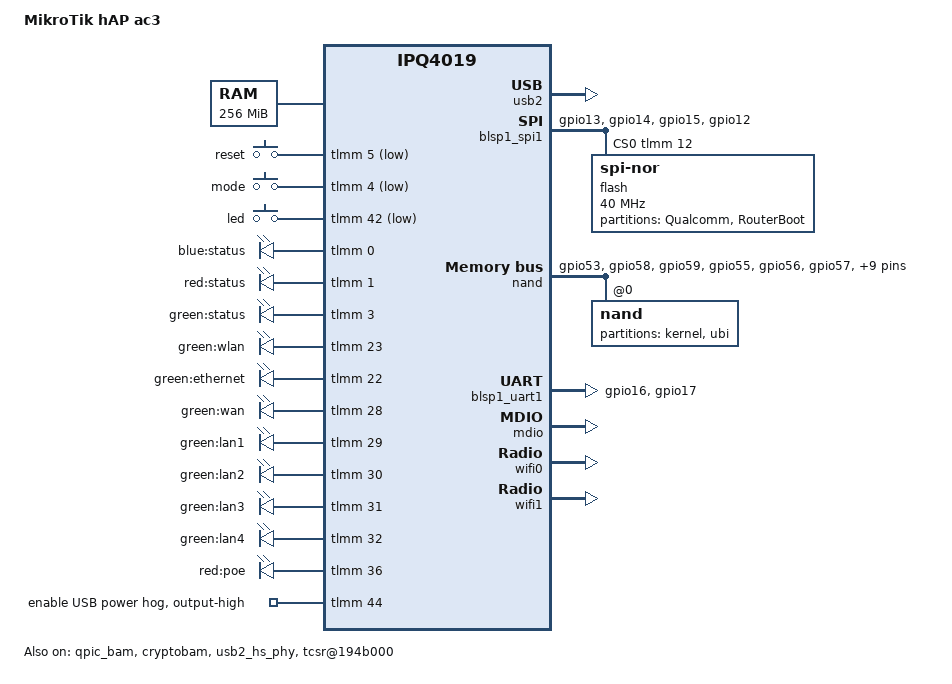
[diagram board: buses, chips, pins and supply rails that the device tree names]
// SPDX-License-Identifier: GPL-2.0-or-later OR MIT
/* Copyright (c) 2021, Robert Marko <robimarko@gmail.com> */

#include "qcom-ipq4019.dtsi"
#include <dt-bindings/gpio/gpio.h>
#include <dt-bindings/input/input.h>
#include <dt-bindings/soc/qcom,tcsr.h>

/ {
	model = "MikroTik hAP ac3";
	compatible = "mikrotik,hap-ac3";

	memory {
		device_type = "memory";
		reg = <0x80000000 0x10000000>;
	};

	chosen {
		stdout-path = "serial0:115200n8";
	};

	aliases {
		led-boot = &led_status_blue;
		led-failsafe = &led_status_red;
		led-running = &led_status_blue;
		led-upgrade = &led_status_red;
	};

	soc {
		rng@22000 {
			status = "okay";
		};

		counter@4a1000 {
			compatible = "qcom,qca-gcnt";
			reg = <0x4a1000 0x4>;
		};

		tcsr@1949000 {
			compatible = "qcom,tcsr";
			reg = <0x1949000 0x100>;
			qcom,wifi_glb_cfg = <TCSR_WIFI_GLB_CFG>;
		};

		tcsr@194b000 {
			/* select hostmode */
			compatible = "qcom,tcsr";
			reg = <0x194b000 0x100>;
			qcom,usb-hsphy-mode-select = <TCSR_USB_HSPHY_HOST_MODE>;
			status = "okay";
		};

		ess_tcsr@1953000 {
			compatible = "qcom,tcsr";
			reg = <0x1953000 0x1000>;
			qcom,ess-interface-select = <TCSR_ESS_PSGMII>;
		};

		tcsr@1957000 {
			compatible = "qcom,tcsr";
			reg = <0x1957000 0x100>;
			qcom,wifi_noc_memtype_m0_m2 = <TCSR_WIFI_NOC_MEMTYPE_M0_M2>;
		};

		usb2: usb2@60f8800 {
			status = "okay";
		};

		crypto@8e3a000 {
			status = "okay";
		};

		watchdog@b017000 {
			status = "okay";
		};

		ess-switch@c000000 {
			status = "okay";
		};

		edma@c080000 {
			status = "okay";
		};
	};

	keys {
		compatible = "gpio-keys";

		reset {
			label = "reset";
			gpios = <&tlmm 5 GPIO_ACTIVE_LOW>;
			linux,code = <KEY_RESTART>;
		};

		mode {
			label = "mode";
			gpios = <&tlmm 4 GPIO_ACTIVE_LOW>;
			linux,code = <KEY_RFKILL>;
		};

		led {
			label = "led";
			gpios = <&tlmm 42 GPIO_ACTIVE_LOW>;
			linux,code = <KEY_WPS_BUTTON>;
		};
	};

	leds {
		compatible = "gpio-leds";

		led_status_blue: status-blue {
			label = "blue:status";
			gpios = <&tlmm 0 GPIO_ACTIVE_HIGH>;
		};

		led_status_red: status-red {
			label = "red:status";
			gpios = <&tlmm 1 GPIO_ACTIVE_HIGH>;
			panic-indicator;
		};

		led_status_green: status-green {
			label = "green:status";
			gpios = <&tlmm 3 GPIO_ACTIVE_HIGH>;
		};

		wlan {
			label = "green:wlan";
			gpios = <&tlmm 23 GPIO_ACTIVE_HIGH>;
		};

		ethernet {
			label = "green:ethernet";
			gpios = <&tlmm 22 GPIO_ACTIVE_HIGH>;
		};

		wan {
			label = "green:wan";
			gpios = <&tlmm 28 GPIO_ACTIVE_HIGH>;
		};

		lan1 {
			label = "green:lan1";
			gpios = <&tlmm 29 GPIO_ACTIVE_HIGH>;
		};

		lan2 {
			label = "green:lan2";
			gpios = <&tlmm 30 GPIO_ACTIVE_HIGH>;
		};

		lan3 {
			label = "green:lan3";
			gpios = <&tlmm 31 GPIO_ACTIVE_HIGH>;
		};

		lan4 {
			label = "green:lan4";
			gpios = <&tlmm 32 GPIO_ACTIVE_HIGH>;
		};

		poe {
			label = "red:poe";
			gpios = <&tlmm 36 GPIO_ACTIVE_HIGH>;
		};
	};
};

&tlmm {
	serial_pins: serial_pinmux {
		mux {
			pins = "gpio16", "gpio17";
			function = "blsp_uart0";
			bias-disable;
		};
	};

	spi_0_pins: spi_0_pinmux {
		pin {
			function = "blsp_spi0";
			pins = "gpio13", "gpio14", "gpio15";
			drive-strength = <12>;
			bias-disable;
		};

		pin_cs {
			function = "gpio";
			pins = "gpio12";
			drive-strength = <2>;
			bias-disable;
			output-high;
		};
	};

	nand_pins: nand_pins {
		pullups {
			pins = "gpio53", "gpio58", "gpio59";
			function = "qpic";
			bias-pull-up;
		};

		pulldowns {
			pins = "gpio55", "gpio56", "gpio57", "gpio60",
				   "gpio62", "gpio63", "gpio64", "gpio65",
				   "gpio66", "gpio67", "gpio68", "gpio69";
			function = "qpic";
			bias-pull-down;
		};
	};

	enable-usb-power {
		gpio-hog;
		gpios = <44 GPIO_ACTIVE_HIGH>;
		output-high;
		line-name = "enable USB power";
	};
};

&blsp_dma {
	status = "okay";
};

&blsp1_spi1 {
	status = "okay";

	pinctrl-0 = <&spi_0_pins>;
	pinctrl-names = "default";
	cs-gpios = <&tlmm 12 GPIO_ACTIVE_HIGH>;

	flash@0 {
		reg = <0>;
		compatible = "jedec,spi-nor";
		spi-max-frequency = <40000000>;

		partitions {
			compatible = "fixed-partitions";
			#address-cells = <1>;
			#size-cells = <1>;

			partition@0 {
				label = "Qualcomm";
				reg = <0x0 0x80000>;
				read-only;
			};

			partition@80000 {
				compatible = "mikrotik,routerboot-partitions";
				#address-cells = <1>;
				#size-cells = <1>;
				label = "RouterBoot";
				reg = <0x80000 0x80000>;

				hard_config {
					read-only;
					size = <0x2000>;
				};

				dtb_config {
					read-only;
				};

				soft_config {
				};
			};
		};
	};
};

&qpic_bam {
	status = "okay";
};

&nand {
	status = "okay";

	pinctrl-0 = <&nand_pins>;
	pinctrl-names = "default";

	nand@0 {
		partitions {
			compatible = "fixed-partitions";
			#address-cells = <1>;
			#size-cells = <1>;

			partition@0 {
				label = "kernel";
				reg = <0x0 0xa00000>;
			};

			partition@a00000 {
				label = "ubi";
				reg = <0xa00000 0x7600000>;
			};
		};
	};
};

&blsp1_uart1 {
	status = "okay";

	pinctrl-0 = <&serial_pins>;
	pinctrl-names = "default";
};

&cryptobam {
	status = "okay";
};

&usb2_hs_phy {
	status = "okay";
};

&mdio {
	status = "okay";
};

&wifi0 {
	status = "okay";

	qcom,ath10k-calibration-variant = "MikroTik-hAP-ac3";
};

&wifi1 {
	status = "okay";

	qcom,ath10k-calibration-variant = "MikroTik-hAP-ac3";
};
